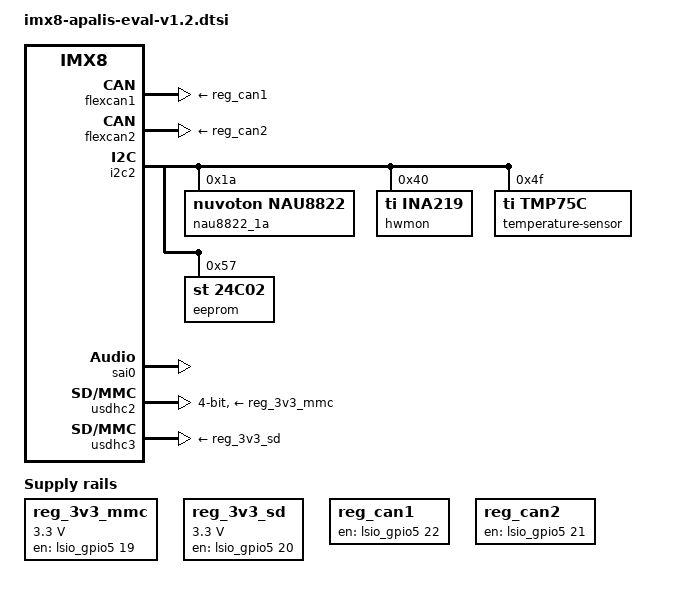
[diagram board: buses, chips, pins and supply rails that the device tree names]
// SPDX-License-Identifier: GPL-2.0-or-later OR MIT
/*
 * Copyright 2024 Toradex
 */

#include "imx8-apalis-eval.dtsi"

/ {
	reg_3v3_mmc: regulator-3v3-mmc {
		compatible = "regulator-fixed";
		pinctrl-names = "default";
		pinctrl-0 = <&pinctrl_enable_3v3_mmc>;
		enable-active-high;
		gpio = <&lsio_gpio5 19 GPIO_ACTIVE_HIGH>;
		off-on-delay-us = <100000>;
		regulator-max-microvolt = <3300000>;
		regulator-min-microvolt = <3300000>;
		regulator-name = "3.3V_MMC";
		startup-delay-us = <10000>;
	};

	reg_3v3_sd: regulator-3v3-sd {
		compatible = "regulator-fixed";
		pinctrl-names = "default";
		pinctrl-0 = <&pinctrl_enable_3v3_sd>;
		enable-active-high;
		gpio = <&lsio_gpio5 20 GPIO_ACTIVE_HIGH>;
		off-on-delay-us = <100000>;
		regulator-max-microvolt = <3300000>;
		regulator-min-microvolt = <3300000>;
		regulator-name = "3.3V_SD";
		startup-delay-us = <10000>;
	};

	reg_can1: regulator-can1 {
		compatible = "regulator-fixed";
		pinctrl-names = "default";
		pinctrl-0 = <&pinctrl_enable_can1_power>;
		enable-active-high;
		gpio = <&lsio_gpio5 22 GPIO_ACTIVE_HIGH>;
		regulator-name = "5V_SW_CAN1";
		startup-delay-us = <10000>;
	};

	reg_can2: regulator-can2 {
		compatible = "regulator-fixed";
		pinctrl-names = "default";
		pinctrl-0 = <&pinctrl_enable_can2_power>;
		enable-active-high;
		gpio = <&lsio_gpio5 21 GPIO_ACTIVE_HIGH>;
		regulator-name = "5V_SW_CAN2";
		startup-delay-us = <10000>;
	};

	sound-carrier {
		compatible = "simple-audio-card";
		simple-audio-card,bitclock-master = <&codec_dai>;
		simple-audio-card,format = "i2s";
		simple-audio-card,frame-master = <&codec_dai>;
		simple-audio-card,name = "apalis-nau8822";
		simple-audio-card,routing =
			"Headphones", "LHP",
			"Headphones", "RHP",
			"Speaker", "LSPK",
			"Speaker", "RSPK",
			"Line Out", "AUXOUT1",
			"Line Out", "AUXOUT2",
			"LAUX", "Line In",
			"RAUX", "Line In",
			"LMICP", "Mic In",
			"RMICP", "Mic In";
		simple-audio-card,widgets =
			"Headphones", "Headphones",
			"Line Out", "Line Out",
			"Speaker", "Speaker",
			"Microphone", "Mic In",
			"Line", "Line In";

		codec_dai: simple-audio-card,codec {
			sound-dai = <&nau8822_1a>;
			system-clock-frequency = <12288000>;
		};

		simple-audio-card,cpu {
			sound-dai = <&sai0>;
		};
	};
};

/* Apalis CAN1 */
&flexcan1 {
	xceiver-supply = <&reg_can1>;
	status = "okay";
};

/* Apalis CAN2 */
&flexcan2 {
	xceiver-supply = <&reg_can2>;
	status = "okay";
};

/* Apalis I2C1 */
&i2c2 {
	status = "okay";

	/* Audio Codec */
	nau8822_1a: audio-codec@1a {
		compatible = "nuvoton,nau8822";
		reg = <0x1a>;
		#sound-dai-cells = <0>;
	};

	/* Power/Current Measurement Sensor */
	hwmon@40 {
		compatible = "ti,ina219";
		reg = <0x40>;
		shunt-resistor = <5000>;
	};

	temperature-sensor@4f {
		compatible = "ti,tmp75c";
		reg = <0x4f>;
	};

	eeprom@57 {
		compatible = "st,24c02", "atmel,24c02";
		reg = <0x57>;
	};
};

&sai0 {
	assigned-clocks = <&clk IMX_SC_R_AUDIO_PLL_0 IMX_SC_PM_CLK_PLL>,
			  <&clk IMX_SC_R_AUDIO_PLL_0 IMX_SC_PM_CLK_SLV_BUS>,
			  <&clk IMX_SC_R_AUDIO_PLL_0 IMX_SC_PM_CLK_MST_BUS>,
			  <&sai0_lpcg IMX_LPCG_CLK_0>;
	assigned-clock-rates = <786432000>, <49152000>, <12288000>, <49152000>;
	pinctrl-names = "default";
	pinctrl-0 = <&pinctrl_sai0>;
	#sound-dai-cells = <0>;
	status = "okay";
};

/* Apalis MMC1 */
&usdhc2 {
	pinctrl-0 = <&pinctrl_usdhc2_4bit>, <&pinctrl_mmc1_cd>;
	pinctrl-1 = <&pinctrl_usdhc2_4bit_100mhz>, <&pinctrl_mmc1_cd>;
	pinctrl-2 = <&pinctrl_usdhc2_4bit_200mhz>, <&pinctrl_mmc1_cd>;
	pinctrl-3 = <&pinctrl_usdhc2_4bit_sleep>, <&pinctrl_mmc1_cd_sleep>;
	bus-width = <4>;
	vmmc-supply = <&reg_3v3_mmc>;
	status = "okay";
};

/* Apalis SD1 */
&usdhc3 {
	vmmc-supply = <&reg_3v3_sd>;
	status = "okay";
};

&iomuxc {
	pinctrl-0 = <&pinctrl_cam1_gpios>,
		    <&pinctrl_esai0_gpios>, <&pinctrl_fec2_gpios>,
		    <&pinctrl_gpio3>, <&pinctrl_gpio4>, <&pinctrl_gpio_keys>,
		    <&pinctrl_gpio_usbh_oc_n>, <&pinctrl_lpuart1ctrl>,
		    <&pinctrl_lvds0_i2c0_gpio>, <&pinctrl_lvds1_i2c0_gpios>,
		    <&pinctrl_mipi_dsi_0_1_en>, <&pinctrl_mipi_dsi1_gpios>,
		    <&pinctrl_mlb_gpios>, <&pinctrl_qspi1a_gpios>,
		    <&pinctrl_sata1_act>, <&pinctrl_sim0_gpios>,
		    <&pinctrl_usdhc1_gpios>;

	pinctrl_enable_3v3_mmc: enable3v3mmcgrp {
		fsl,pins = <IMX8QM_USDHC1_DATA4_LSIO_GPIO5_IO19	0x00000021>; /* MXM3_148 */
	};

	pinctrl_enable_3v3_sd: enable3v3sdgrp {
		fsl,pins = <IMX8QM_USDHC1_DATA5_LSIO_GPIO5_IO20	0x00000021>; /* MXM3_152 */
	};

	pinctrl_enable_can1_power: enablecan1powergrp {
		fsl,pins = <IMX8QM_USDHC1_DATA7_LSIO_GPIO5_IO22	0x00000021>; /* MXM3_158 */
	};

	pinctrl_enable_can2_power: enablecan2powergrp {
		fsl,pins = <IMX8QM_USDHC1_DATA6_LSIO_GPIO5_IO21	0x00000021>; /* MXM3_156 */
	};

	pinctrl_sai0: sai0grp {
		fsl,pins = <IMX8QM_SAI1_RXC_AUD_SAI0_TXD	0xc600006c>, /* MXM3_196 */
			   <IMX8QM_SPI0_CS1_AUD_SAI0_TXC	0xc600004c>, /* MXM3_200 */
			   <IMX8QM_SAI1_RXFS_AUD_SAI0_RXD	0xc600004c>, /* MXM3_202 */
			   <IMX8QM_SPI2_CS1_AUD_SAI0_TXFS	0xc600004c>; /* MXM3_204 */
	};
};
